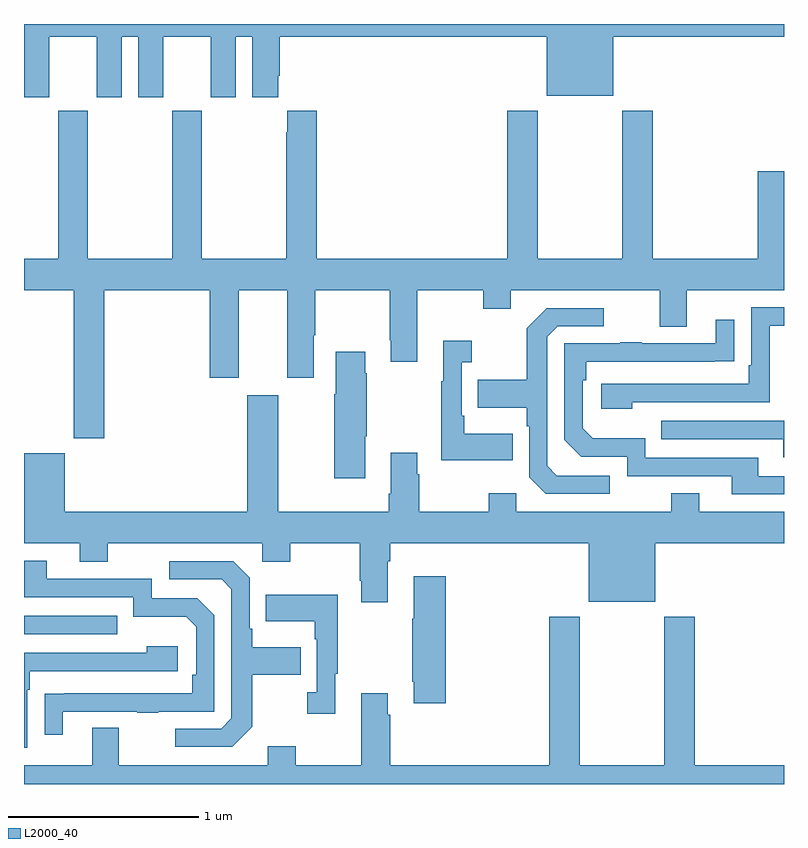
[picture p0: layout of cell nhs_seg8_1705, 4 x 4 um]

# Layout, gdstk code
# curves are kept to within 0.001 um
import gdstk
lib = gdstk.Library(unit=1e-6, precision=1e-09)
def R(c, l, rs):  # rectangles x0, y0, x1, y1
    for r in rs: c.add(gdstk.rectangle(r[:2], r[2:], *l))
def P(c, l, *ps):  # polygons
    for p in ps: c.add(gdstk.Polygon(p, *l))
L2000_40 = (2000, 40)

nhs_seg8_1705 = lib.new_cell('nhs_seg8_1705')
R(nhs_seg8_1705, L2000_40, [(219,1114.689,219.491,1114.785)])
P(nhs_seg8_1705, L2000_40, [(219.133,1117.832),(219.383,1117.832),(219.383,1117.515),(219.514,1117.515),(219.514,1117.832),(219.602,1117.832),(219.602,1117.515),(219.733,1117.515),(219.733,1117.832),(219.983,1117.832),(219.983,1117.515),(220.114,1117.515),(220.114,1117.832),(220.202,1117.832),(220.202,1117.515),(220.339,1117.515),(220.339,1117.627),(220.346,1117.627),(220.346,1117.832),(221.75,1117.832),(221.75,1117.523),(222.1,1117.523),(222.1,1117.832),(223,1117.832),(223,1117.9),(219,1117.9),(219,1117.832),(219.002,1117.832),(219.002,1117.515),(219.133,1117.515)],
  [(219.422,1116.5),(219.977,1116.5),(219.977,1116.039),(220.129,1116.039),(220.129,1116.5),(220.385,1116.5),(220.385,1116.039),(220.525,1116.039),(220.525,1116.262),(220.533,1116.262),(220.533,1116.5),(220.924,1116.5),(220.924,1116.235),(220.931,1116.235),(220.931,1116.123),(221.071,1116.123),(221.071,1116.5),(221.416,1116.5),(221.416,1116.401),(221.563,1116.401),(221.563,1116.5),(222.347,1116.5),(222.347,1116.306),(222.487,1116.306),(222.487,1116.5),(223,1116.5),(223,1117.126),(222.863,1117.126),(222.863,1116.664),(222.308,1116.664),(222.308,1117.444),(222.148,1117.444),(222.148,1116.664),(221.703,1116.664),(221.703,1117.444),(221.543,1117.444),(221.543,1116.664),(220.541,1116.664),(220.541,1117.444),(220.385,1117.444),(220.385,1117.331),(220.381,1117.331),(220.381,1116.664),(219.936,1116.664),(219.936,1117.444),(219.781,1117.444),(219.781,1116.664),(219.336,1116.664),(219.336,1117.444),(219.181,1117.444),(219.181,1116.664),(219,1116.664),(219,1116.5),(219.262,1116.5),(219.262,1115.721),(219.422,1115.721)],
  [(222.2,1115.91),(222.924,1115.91),(222.924,1116.312),(223,1116.312),(223,1116.408),(222.828,1116.408),(222.828,1116.103),(222.815,1116.103),(222.815,1116.006),(222.039,1116.006),(222.039,1115.876),(222.2,1115.876)],
  [(222.082,1115.523),(221.805,1115.523),(221.754,1115.574),(221.754,1116.255),(221.808,1116.309),(222.052,1116.309),(222.052,1116.405),(221.751,1116.405),(221.646,1116.299),(221.646,1116.027),(221.389,1116.027),(221.389,1115.879),(221.646,1115.879),(221.646,1115.783),(221.658,1115.783),(221.658,1115.514),(221.745,1115.427),(222.082,1115.427)],
  [(223,1115.52),(222.865,1115.52),(222.865,1115.616),(222.27,1115.616),(222.27,1115.719),(221.993,1115.719),(221.94,1115.772),(221.94,1116.026),(221.96,1116.026),(221.96,1116.123),(222.737,1116.124),(222.737,1116.343),(222.641,1116.343),(222.641,1116.219),(222.251,1116.219),(222.251,1116.224),(222.139,1116.224),(222.139,1116.219),(221.844,1116.219),(221.844,1115.712),(221.934,1115.622),(222.174,1115.622),(222.174,1115.52),(222.725,1115.52),(222.725,1115.424),(223,1115.424)],
  [(221.573,1115.743),(221.317,1115.743),(221.317,1115.839),(221.304,1115.839),(221.304,1116.119),(221.356,1116.119),(221.356,1116.232),(221.207,1116.232),(221.207,1116.019),(221.196,1116.019),(221.196,1115.603),(221.573,1115.603)],
  [(220.795,1115.731),(220.803,1115.731),(220.803,1116.062),(220.795,1116.062),(220.795,1116.175),(220.64,1116.175),(220.64,1115.951),(220.633,1115.951),(220.633,1115.508),(220.795,1115.508)],
  [(220.915,1115.072),(220.928,1115.072),(220.928,1115.168),(221.972,1115.168),(221.972,1114.859),(222.322,1114.859),(222.322,1115.168),(223,1115.168),(223,1115.332),(222.553,1115.332),(222.553,1115.431),(222.406,1115.431),(222.406,1115.332),(221.592,1115.332),(221.592,1115.431),(221.446,1115.431),(221.446,1115.332),(221.079,1115.332),(221.079,1115.531),(221.071,1115.531),(221.071,1115.644),(220.931,1115.644),(220.931,1115.428),(220.919,1115.428),(220.919,1115.332),(220.339,1115.332),(220.339,1115.947),(220.175,1115.947),(220.175,1115.332),(219.214,1115.332),(219.214,1115.641),(219,1115.641),(219,1115.168),(219.293,1115.168),(219.293,1115.069),(219.441,1115.069),(219.441,1115.168),(220.254,1115.168),(220.254,1115.069),(220.401,1115.069),(220.401,1115.168),(220.768,1115.168),(220.768,1114.969),(220.775,1114.969),(220.775,1114.857),(220.915,1114.857)],
  [(223,1115.811),(222.355,1115.811),(222.355,1115.715),(222.995,1115.715),(222.995,1115.621),(223,1115.621)],
  [(219.205,1114.281),(219.595,1114.281),(219.595,1114.276),(219.707,1114.276),(219.707,1114.281),(220.002,1114.281),(220.002,1114.788),(219.912,1114.878),(219.672,1114.878),(219.672,1114.98),(219.121,1114.98),(219.121,1115.076),(219,1115.076),(219,1114.884),(219.576,1114.884),(219.576,1114.781),(219.853,1114.781),(219.906,1114.728),(219.906,1114.474),(219.886,1114.474),(219.886,1114.377),(219.109,1114.376),(219.109,1114.158),(219.205,1114.158)],
  [(220.201,1114.201),(220.201,1114.474),(220.457,1114.474),(220.457,1114.621),(220.201,1114.621),(220.201,1114.717),(220.188,1114.717),(220.188,1114.986),(220.101,1115.073),(219.765,1115.073),(219.765,1114.977),(220.041,1114.977),(220.092,1114.926),(220.092,1114.245),(220.038,1114.191),(219.795,1114.191),(219.795,1114.095),(220.095,1114.095)],
  [(221.219,1114.993),(221.051,1114.993),(221.051,1114.769),(221.044,1114.769),(221.044,1114.438),(221.051,1114.438),(221.051,1114.326),(221.219,1114.326)],
  [(220.639,1114.481),(220.651,1114.481),(220.651,1114.897),(220.273,1114.897),(220.273,1114.757),(220.53,1114.757),(220.53,1114.661),(220.542,1114.661),(220.542,1114.382),(220.491,1114.382),(220.491,1114.269),(220.639,1114.269)],
  [(219.018,1114.397),(219.031,1114.397),(219.031,1114.494),(219.808,1114.494),(219.808,1114.624),(219.647,1114.624),(219.647,1114.59),(219,1114.59),(219,1114.092),(219.018,1114.092)],
  [(222.37,1114.78),(222.37,1114),(221.925,1114),(221.925,1114.78),(221.765,1114.78),(221.765,1114),(220.928,1114),(220.928,1114.265),(220.915,1114.265),(220.915,1114.378),(220.775,1114.378),(220.775,1114),(220.431,1114),(220.431,1114.099),(220.283,1114.099),(220.283,1114),(219.499,1114),(219.499,1114.195),(219.359,1114.195),(219.359,1114),(219,1114),(219,1113.9),(223,1113.9),(223,1114),(222.53,1114),(222.53,1114.78)])

lib.write_gds('nhs_seg8_1705.gds')
